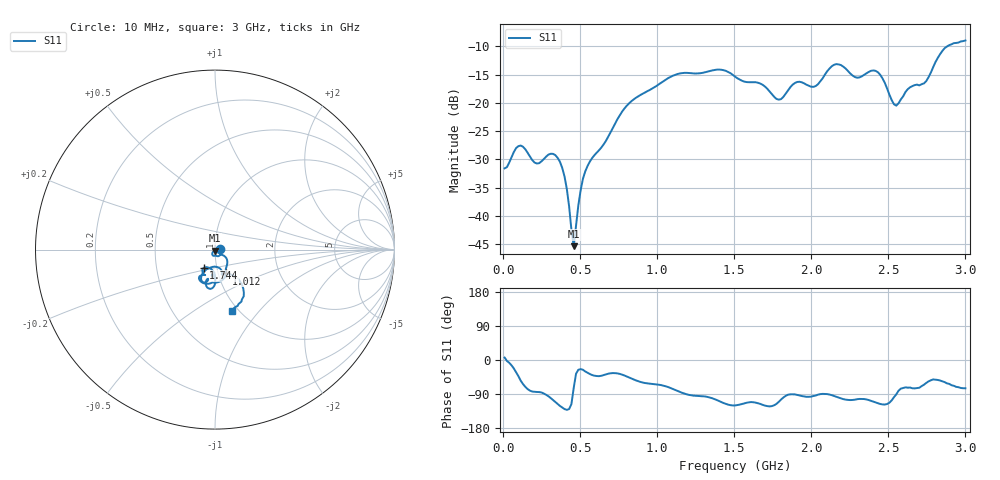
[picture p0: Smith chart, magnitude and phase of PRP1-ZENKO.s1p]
!File created by NanoVNA
# Hz S RI R 50
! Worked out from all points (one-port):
!   201 points, 10 MHz to 3 GHz, reference 50 ohm
!   lowest |S11| = -45.3 dB at 458.5 MHz (marker M1), VSWR 1.01, Z = 50.2 - j0.52 ohm
!   |S11| at or under -10 dB: start of sweep to 2.881 GHz
!   S11 on the Smith chart (normalised r, x): 10 MHz: 1.05, +0.01; 1.012 GHz: 1.09, -0.30; 1.744 GHz: 0.86, -0.18; 3 GHz: 0.93, -0.73
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1e7  0.0262 0.00298
1.1465e8  0.0242 -0.0343
2.0435e8  0.00314 -0.0295
3.2395e8  -0.00946 -0.0342
3.8375e8  -0.0155 -0.0218
4.1365e8  -0.0115 -0.013
4.585e8  0.00154 -0.00518
5.0335e8  0.0154 -0.00687
5.3325e8  0.0214 -0.0125
7.575e8  0.0624 -0.0466
8.3225e8  0.0682 -0.0778
1.01165e9  0.0613 -0.1331
1.13125e9  0.0268 -0.1782
1.40035e9  -0.0614 -0.1877
1.505e9  -0.0856 -0.1481
1.66945e9  -0.0649 -0.1335
1.7442e9  -0.0629 -0.1019
1.804e9  -0.0267 -0.1048
1.87875e9  -0.00128 -0.145
2.02825e9  -0.00943 -0.1406
2.1628e9  -0.0264 -0.219
2.2525e9  -0.0495 -0.1756
2.4319e9  -0.076 -0.1709
2.5515e9  -0.00106 -0.0946
2.62625e9  0.0387 -0.1267
2.74585e9  0.0768 -0.1358
2.8505e9  0.1607 -0.2397
3e9  0.0949 -0.3443
